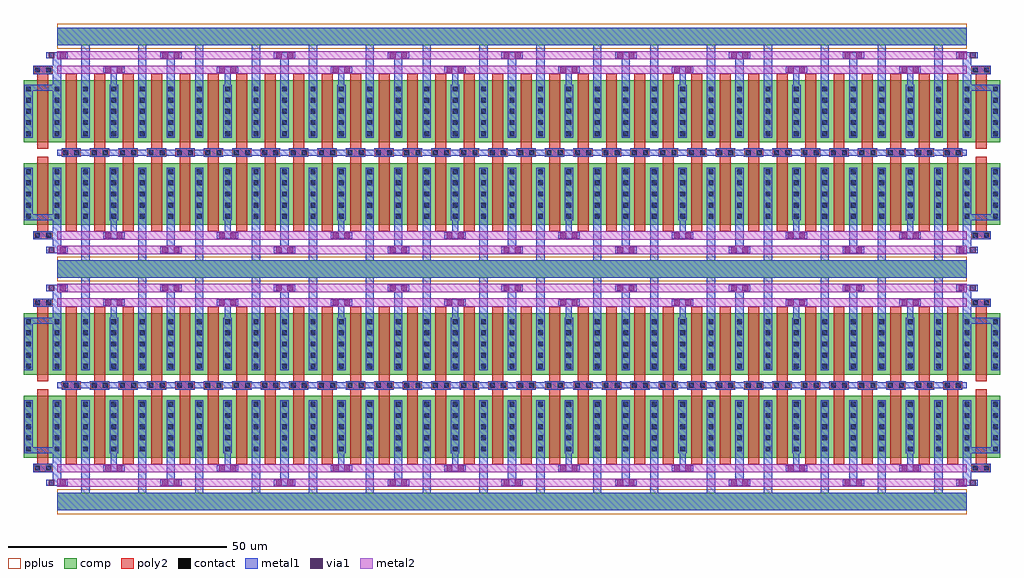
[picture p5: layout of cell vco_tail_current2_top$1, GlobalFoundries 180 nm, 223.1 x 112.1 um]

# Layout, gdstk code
from math import pi, radians
import gdstk
lib = gdstk.Library(unit=1e-6, precision=1e-09)
def R(c, l, rs):  # rectangles x0, y0, x1, y1
    for r in rs: c.add(gdstk.rectangle(r[:2], r[2:], *l))
def A(c, l, x, y, w, h, nx, ny, dx, dy):  # array of equal rectangles
    R(c, l, [(x+i*dx, y+j*dy, x+i*dx+w, y+j*dy+h) for i in range(nx) for j in range(ny)])
comp = (22, 0)
poly2 = (30, 0)
pplus = (31, 0)
contact = (33, 0)
metal1 = (34, 0)
via1 = (35, 0)
metal2 = (36, 0)

vco_tail_current_ncell2_ = lib.new_cell('vco_tail_current_ncell2_1$1$2')
R(vco_tail_current_ncell2_, comp, [(0,1.5,2.1,15.6), (2.1,1.5,6.5,15.6), (6.5,1.5,8.6,15.6)])
R(vco_tail_current_ncell2_, poly2, [(3.05,0,5.55,17.1)])
A(vco_tail_current_ncell2_, contact, 0.5, 2.9, 1.1, 1.1, 1, 5, 0, 2.55)
A(vco_tail_current_ncell2_, contact, 7, 2.9, 1.1, 1.1, 1, 5, 0, 2.55)
R(vco_tail_current_ncell2_, metal1, [(0.1,2.5,2,14.6), (6.6,2.5,8.5,14.6)])

c_vco_tail_current_ncell2_ = lib.new_cell('vco_tail_current_ncell2_1_2$1')
R(c_vco_tail_current_ncell2_, poly2, [(2.05,0.05,6.4,1.85), (2.05,0.05,6.4,1.85), (2.05,37.85,6.4,39.65), (2.05,37.85,6.4,39.65)])
R(c_vco_tail_current_ncell2_, contact, [(2.4,0.4,3.5,1.5), (2.4,0.4,3.5,1.5), (4.95,0.4,6.05,1.5), (4.95,0.4,6.05,1.5), (2.4,38.2,3.5,39.3), (2.4,38.2,3.5,39.3), (4.95,38.2,6.05,39.3), (4.95,38.2,6.05,39.3)])
R(c_vco_tail_current_ncell2_, metal1, [(2,0,6.45,1.9), (2,0,6.45,1.9), (2,37.8,6.45,39.7), (2,37.8,6.45,39.7)])
c_vco_tail_current_ncell2_.add(gdstk.FlexPath([(6.6,5.05),(2,5.05)], 1.4, ends="flush", simple_path=True, layer=34, datatype=0))  # metal1
c_vco_tail_current_ncell2_.add(gdstk.FlexPath([(6.6,34.65),(2,34.65)], 1.4, ends="flush", simple_path=True, layer=34, datatype=0))  # metal1
c_vco_tail_current_ncell2_.add(gdstk.Reference(vco_tail_current_ncell2_, (0,1.85)))
c_vco_tail_current_ncell2_.add(gdstk.Reference(vco_tail_current_ncell2_, (0,37.85), x_reflection=True))

c_vco_tail_current_ncell2__ = lib.new_cell('vco_tail_current_ncell2_1$1$1$1')
R(c_vco_tail_current_ncell2__, comp, [(0,1.5,2.1,15.6), (2.1,1.5,6.5,15.6), (6.5,1.5,8.6,15.6)])
R(c_vco_tail_current_ncell2__, poly2, [(3.05,0,5.55,17.1)])
A(c_vco_tail_current_ncell2__, contact, 0.5, 2.9, 1.1, 1.1, 1, 5, 0, 2.55)
A(c_vco_tail_current_ncell2__, contact, 7, 2.9, 1.1, 1.1, 1, 5, 0, 2.55)
R(c_vco_tail_current_ncell2__, metal1, [(0.1,2.5,2,14.6), (6.6,2.5,8.5,14.6)])

c_vco_tail_current_ncell2___ = lib.new_cell('vco_tail_current_ncell2_4$1$1')
A(c_vco_tail_current_ncell2___, poly2, 2.125, 17.1, 4.35, 1.8, 4, 1, 6.5, 0)
R(c_vco_tail_current_ncell2___, contact, [(2.475,17.45,3.575,18.55), (5.025,17.45,6.125,18.55), (8.975,17.45,10.075,18.55), (11.525,17.45,12.625,18.55), (15.475,17.45,16.575,18.55), (18.025,17.45,19.125,18.55), (21.975,17.45,23.075,18.55), (24.525,17.45,25.625,18.55)])
A(c_vco_tail_current_ncell2___, metal1, 2.075, 17.05, 4.45, 1.9, 4, 1, 6.5, 0)
c_vco_tail_current_ncell2___.add(gdstk.Reference(c_vco_tail_current_ncell2__, (0,0)))
c_vco_tail_current_ncell2___.add(gdstk.Reference(c_vco_tail_current_ncell2__, (6.5,0)))
c_vco_tail_current_ncell2___.add(gdstk.Reference(c_vco_tail_current_ncell2__, (13,0)))
c_vco_tail_current_ncell2___.add(gdstk.Reference(c_vco_tail_current_ncell2__, (19.5,0)))

c_vco_tail_current_ncell2____ = lib.new_cell('vco_tail_current_ncell2_4_4$1')
R(c_vco_tail_current_ncell2____, via1, [(0.5,6.55,1.8,7.85), (3.1,6.55,4.4,7.85), (26.5,6.55,27.8,7.85), (29.1,6.55,30.4,7.85), (13.475,9.85,14.775,11.15), (16.075,9.85,17.375,11.15), (13.475,47.75,14.775,49.05), (16.075,47.75,17.375,49.05), (0.5,51.05,1.8,52.35), (3.1,51.05,4.4,52.35), (26.5,51.05,27.8,52.35), (29.1,51.05,30.4,52.35)])
c_vco_tail_current_ncell2____.add(gdstk.FlexPath([(2.425,44.95),(2.425,51)], 1.9, ends="flush", simple_path=True, layer=34, datatype=0))  # metal1
c_vco_tail_current_ncell2____.add(gdstk.FlexPath([(0,51.7),(4.9,51.7)], 1.4, ends="flush", simple_path=True, layer=34, datatype=0))  # metal1
c_vco_tail_current_ncell2____.add(gdstk.FlexPath([(8.925,54.05),(8.925,44.95)], 1.9, ends="flush", simple_path=True, layer=34, datatype=0))  # metal1
c_vco_tail_current_ncell2____.add(gdstk.FlexPath([(12.975,48.4),(17.875,48.4)], 1.4, ends="flush", simple_path=True, layer=34, datatype=0))  # metal1
c_vco_tail_current_ncell2____.add(gdstk.FlexPath([(15.425,44.95),(15.425,47.7)], 1.4, ends="flush", simple_path=True, layer=34, datatype=0))  # metal1
c_vco_tail_current_ncell2____.add(gdstk.FlexPath([(21.925,54.05),(21.925,44.95)], 1.9, ends="flush", simple_path=True, layer=34, datatype=0))  # metal1
c_vco_tail_current_ncell2____.add(gdstk.FlexPath([(28.425,44.95),(28.425,51)], 1.9, ends="flush", simple_path=True, layer=34, datatype=0))  # metal1
c_vco_tail_current_ncell2____.add(gdstk.FlexPath([(26,51.7),(30.9,51.7)], 1.4, ends="flush", simple_path=True, layer=34, datatype=0))  # metal1
c_vco_tail_current_ncell2____.add(gdstk.FlexPath([(2.425,56.05),(28.425,56.05)], 4, ends="flush", simple_path=True, layer=34, datatype=0))  # metal1
c_vco_tail_current_ncell2____.add(gdstk.FlexPath([(2.425,13.95),(2.425,7.9)], 1.9, ends="flush", simple_path=True, layer=34, datatype=0))  # metal1
c_vco_tail_current_ncell2____.add(gdstk.FlexPath([(0,7.2),(4.9,7.2)], 1.4, ends="flush", simple_path=True, layer=34, datatype=0))  # metal1
c_vco_tail_current_ncell2____.add(gdstk.FlexPath([(8.925,4.85),(8.925,13.95)], 1.9, ends="flush", simple_path=True, layer=34, datatype=0))  # metal1
c_vco_tail_current_ncell2____.add(gdstk.FlexPath([(12.975,10.5),(17.875,10.5)], 1.4, ends="flush", simple_path=True, layer=34, datatype=0))  # metal1
c_vco_tail_current_ncell2____.add(gdstk.FlexPath([(15.425,13.95),(15.425,11.2)], 1.4, ends="flush", simple_path=True, layer=34, datatype=0))  # metal1
c_vco_tail_current_ncell2____.add(gdstk.FlexPath([(21.925,4.85),(21.925,13.95)], 1.9, ends="flush", simple_path=True, layer=34, datatype=0))  # metal1
c_vco_tail_current_ncell2____.add(gdstk.FlexPath([(28.425,13.95),(28.425,7.9)], 1.9, ends="flush", simple_path=True, layer=34, datatype=0))  # metal1
c_vco_tail_current_ncell2____.add(gdstk.FlexPath([(26,7.2),(30.9,7.2)], 1.4, ends="flush", simple_path=True, layer=34, datatype=0))  # metal1
c_vco_tail_current_ncell2____.add(gdstk.FlexPath([(2.425,2.85),(28.425,2.85)], 4, ends="flush", simple_path=True, layer=34, datatype=0))  # metal1
c_vco_tail_current_ncell2____.add(gdstk.FlexPath([(28.425,29.45),(2.425,29.45)], 1.4, ends="flush", simple_path=True, layer=34, datatype=0))  # metal1
c_vco_tail_current_ncell2____.add(gdstk.FlexPath([(2.425,56.05),(28.425,56.05)], 4, ends="flush", simple_path=True, layer=22, datatype=0))  # comp
c_vco_tail_current_ncell2____.add(gdstk.FlexPath([(2.425,2.85),(28.425,2.85)], 4, ends="flush", simple_path=True, layer=22, datatype=0))  # comp
c_vco_tail_current_ncell2____.add(gdstk.FlexPath([(2.425,51.7),(28.425,51.7)], 1.9, ends="flush", simple_path=True, layer=36, datatype=0))  # metal2
c_vco_tail_current_ncell2____.add(gdstk.FlexPath([(2.425,48.4),(28.425,48.4)], 1.9, ends="flush", simple_path=True, layer=36, datatype=0))  # metal2
c_vco_tail_current_ncell2____.add(gdstk.FlexPath([(2.425,7.2),(28.425,7.2)], 1.9, ends="flush", simple_path=True, layer=36, datatype=0))  # metal2
c_vco_tail_current_ncell2____.add(gdstk.FlexPath([(2.425,10.5),(28.425,10.5)], 1.9, ends="flush", simple_path=True, layer=36, datatype=0))  # metal2
c_vco_tail_current_ncell2____.add(gdstk.FlexPath([(2.425,56.05),(28.425,56.05)], 5.7, ends="flush", simple_path=True, layer=31, datatype=0))  # pplus
c_vco_tail_current_ncell2____.add(gdstk.FlexPath([(2.425,2.85),(28.425,2.85)], 5.7, ends="flush", simple_path=True, layer=31, datatype=0))  # pplus
c_vco_tail_current_ncell2____.add(gdstk.Reference(c_vco_tail_current_ncell2___, (1.375,11.45)))
c_vco_tail_current_ncell2____.add(gdstk.Reference(c_vco_tail_current_ncell2___, (1.375,47.45), x_reflection=True))

vco_tail_current2_top_1 = lib.new_cell('vco_tail_current2_top$1')
vco_tail_current2_top_1.add(gdstk.Reference(c_vco_tail_current_ncell2_, (209.375,61.8)))
vco_tail_current2_top_1.add(gdstk.Reference(c_vco_tail_current_ncell2_, (209.375,8.6)))
vco_tail_current2_top_1.add(gdstk.Reference(c_vco_tail_current_ncell2_, (3.475,8.6), rotation=pi, x_reflection=True))
vco_tail_current2_top_1.add(gdstk.Reference(c_vco_tail_current_ncell2_, (3.475,61.8), rotation=pi, x_reflection=True))
vco_tail_current2_top_1.add(gdstk.Reference(c_vco_tail_current_ncell2____, (156,-1)))
vco_tail_current2_top_1.add(gdstk.Reference(c_vco_tail_current_ncell2____, (78,52.2)))
vco_tail_current2_top_1.add(gdstk.Reference(c_vco_tail_current_ncell2____, (104,52.2)))
vco_tail_current2_top_1.add(gdstk.Reference(c_vco_tail_current_ncell2____, (130,52.2)))
vco_tail_current2_top_1.add(gdstk.Reference(c_vco_tail_current_ncell2____, (156,52.2)))
vco_tail_current2_top_1.add(gdstk.Reference(c_vco_tail_current_ncell2____, (182,52.2)))
vco_tail_current2_top_1.add(gdstk.Reference(c_vco_tail_current_ncell2____, (26,-1)))
vco_tail_current2_top_1.add(gdstk.Reference(c_vco_tail_current_ncell2____, (26,52.2)))
vco_tail_current2_top_1.add(gdstk.Reference(c_vco_tail_current_ncell2____, (52,-1)))
vco_tail_current2_top_1.add(gdstk.Reference(c_vco_tail_current_ncell2____, (52,52.2)))
vco_tail_current2_top_1.add(gdstk.Reference(c_vco_tail_current_ncell2____, (0,-1)))
vco_tail_current2_top_1.add(gdstk.Reference(c_vco_tail_current_ncell2____, (0,52.2)))
vco_tail_current2_top_1.add(gdstk.Reference(c_vco_tail_current_ncell2____, (104,-1)))
vco_tail_current2_top_1.add(gdstk.Reference(c_vco_tail_current_ncell2____, (130,-1)))
vco_tail_current2_top_1.add(gdstk.Reference(c_vco_tail_current_ncell2____, (78,-1)))
vco_tail_current2_top_1.add(gdstk.Reference(c_vco_tail_current_ncell2____, (182,-1)))

lib.write_gds('vco_tail_current2_top_1.gds')
